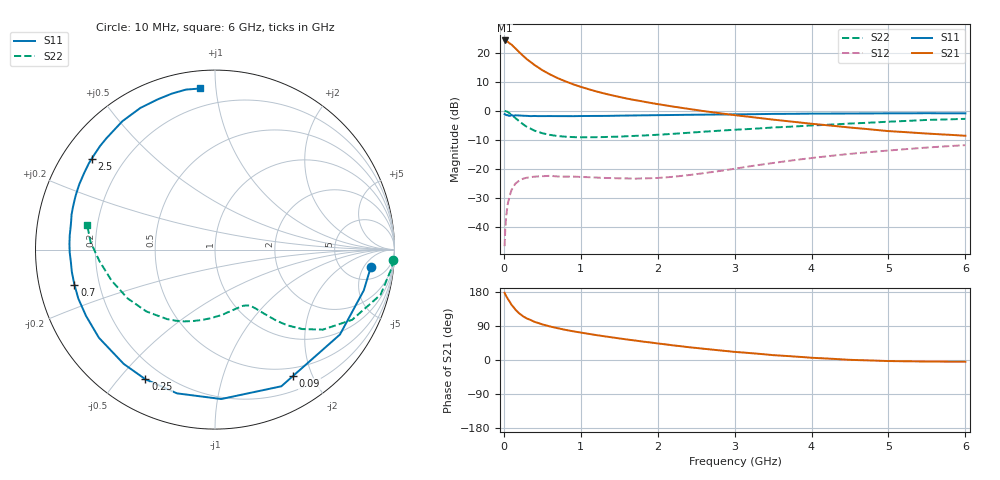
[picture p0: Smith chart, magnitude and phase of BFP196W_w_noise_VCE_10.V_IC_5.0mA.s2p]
! (c) 2017  Infineon Technologies AG, Munich
! Infineon Technologies  Discrete & RF Semiconductors
! BFP196W
! VCE =  10. V,  IC =  5.0 mA
! Common Emitter S-Parameters:  Jan 2017
# GHz  S  MA  R  50
!  f  S11  S21  S12  S22
! GHz  MAG  ANG  MAG  ANG  MAG  ANG  MAG  ANG
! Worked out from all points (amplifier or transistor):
!   77 points, 10 MHz to 6 GHz, reference 50 ohm
!   highest |S21| = 24.3 dB at 10 MHz (marker M1)
!   |S21| within 3 dB of that: start of sweep to 161.2 MHz
!   unconditionally stable (mu >= 1): 1.578 GHz to 3.083 GHz
!   at 130 MHz: K = 0.09, MSG = 24.0 dB, |S12| = -26.0 dB
!   at 2.2 GHz: K = 1.15, MAG = 9.7 dB, |S12| = -22.8 dB
!   at 6 GHz: K = 0.89, MSG = 1.6 dB, |S12| = -11.9 dB
!   lowest NFmin = 0.90 dB at 450 MHz
!   S11 on the Smith chart (normalised r, x): 10 MHz: 9, -7; 90 MHz: 0.39, -1.73; 250 MHz: 0.13, -0.59; 700 MHz: 0.11, -0.12; 2.5 GHz: 0.09, +0.33; 6 GHz: 0.09, +0.91
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0.01  0.8739 -6.3  16.32 177.3  0.0046 83.7  0.9954 -3.2
0.02  0.8596 -15.3  16.21 172.5  0.0098 82.1  0.989 -6.1
0.05  0.8417 -34.2  15.52 161.7  0.024 71.3  0.9563 -15.2
0.09  0.8274 -58.3  14.1 149.0  0.039 59.5  0.8749 -24.5
0.1  0.8465 -64.1  13.87 145.5  0.0429 57.9  0.8586 -27.1
0.15  0.8332 -87.6  11.96 132.9  0.0553 46.7  0.748 -36.6
0.2  0.8285 -104.8  10.27 123.0  0.0623 39.2  0.6578 -42.3
0.25  0.8199 -118.2  8.873 115.3  0.0672 32.5  0.584 -46.3
0.3  0.815 -128.6  7.74 109.5  0.0699 27.9  0.5268 -49.0
0.4  0.8122 -142.8  6.132 100.5  0.073 22.8  0.4521 -52.4
0.5  0.808 -152.8  5.014 94.0  0.0741 19.3  0.4095 -54.7
0.6  0.8089 -160.2  4.237 88.5  0.0753 17.0  0.3831 -56.6
0.7  0.8073 -166.0  3.652 83.9  0.0733 15.6  0.3655 -58.5
0.9  0.806 -175.3  2.861 75.8  0.0731 14.7  0.3508 -63.1
1.1  0.8117 177.7  2.356 69.1  0.0713 15.6  0.3488 -68.0
1.5  0.8226 166.3  1.731 57.0  0.0682 20.7  0.3576 -79.5
2.1  0.8413 151.9  1.239 41.3  0.0707 35.2  0.3917 -97.8
2.5  0.853 143.7  1.03 31.8  0.0805 44.2  0.4252 -110.2
3.1  0.868 132.6  0.811 19.9  0.1048 51.6  0.4768 -127.4
4.1  0.8918 116.4  0.579 4.9  0.158 50.6  0.5642 -153.5
5.1  0.9021 104.4  0.437 -3.0  0.2109 42.7  0.6553 -176.3
6  0.9013 95.2  0.37 -4.6  0.2551 34.1  0.7246 169.3
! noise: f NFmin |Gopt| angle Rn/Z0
0.45  0.9  0.44  123  0.09
0.9  1.32  0.6  159  0.06
1.9  2.72  0.75  -161  0.11
2.4  3.29  0.8  -151  0.28
